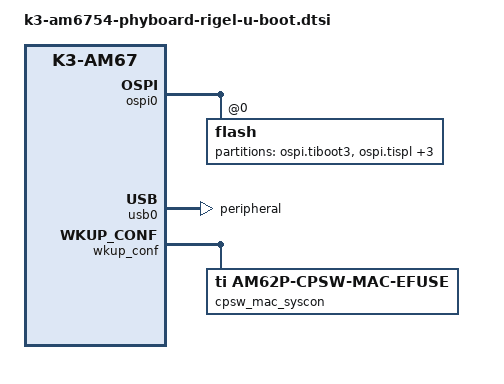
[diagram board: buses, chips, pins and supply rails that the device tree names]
// SPDX-License-Identifier: GPL-2.0-only OR MIT
/*
 * Common AM67x phyBOARD Rigel dts file for SPLs
 * Copyright (C) 2025 PHYTEC America LLC - https://www.phytec.com/
 */

#include "k3-am67-phycore-som-binman.dtsi"

/ {
	chosen {
		stdout-path = "serial2:115200n8";
		tick-timer = &main_timer0;
	};
};

&cpsw3g {
	ethernet-ports {
		bootph-all;
	};
};

&cpsw3g_mdio {
	bootph-all;
};

&cpsw3g_phy1{
	bootph-all;
};

&cpsw_port1 {
	ti,syscon-efuse = <&cpsw_mac_syscon 0x0>;
	bootph-all;
};

&dmsc {
	bootph-pre-ram;
};

&main_bcdma {
	reg = <0x00 0x485c0100 0x00 0x100>,
	      <0x00 0x4c000000 0x00 0x20000>,
	      <0x00 0x4a820000 0x00 0x20000>,
	      <0x00 0x4aa40000 0x00 0x20000>,
	      <0x00 0x4bc00000 0x00 0x100000>,
	      <0x00 0x48600000 0x00 0x8000>,
	      <0x00 0x484a4000 0x00 0x2000>,
	      <0x00 0x484c2000 0x00 0x2000>;
	reg-names = "gcfg", "bchanrt", "rchanrt", "tchanrt",
		    "ringrt", "cfg", "tchan", "rchan";
	bootph-pre-ram;
};

&main_pktdma {
	bootph-all;
};

&mdio_pins_default {
	bootph-all;
};

&ospi0 {
	flash@0 {
		partitions {
			compatible = "fixed-partitions";
			#address-cells = <1>;
			#size-cells = <1>;

			partition@0 {
				reg = <0x00000 0x80000>;
				label = "ospi.tiboot3";
			};
			partition@80000 {
				reg = <0x080000 0x200000>;
				label = "ospi.tispl";
			};
			partition@280000 {
				reg = <0x280000 0x400000>;
				label = "ospi.u-boot";
			};
			partition@680000 {
				reg = <0x680000 0x40000>;
				label = "ospi.env";
			};
			partition@6c0000 {
				reg = <0x6c0000 0x40000>;
				label = "ospi.env.backup";
			};
		};
	};
};

&phy_gmii_sel {
	bootph-all;
};

&rgmii1_pins_default {
	bootph-all;
};

&usb0 {
	dr_mode = "peripheral";
};

&wkup_conf {
	cpsw_mac_syscon: ethernet-mac-syscon@200 {
		compatible = "ti,am62p-cpsw-mac-efuse", "syscon";
		reg = <0x200 0x8>;
		bootph-all;
	};
};
